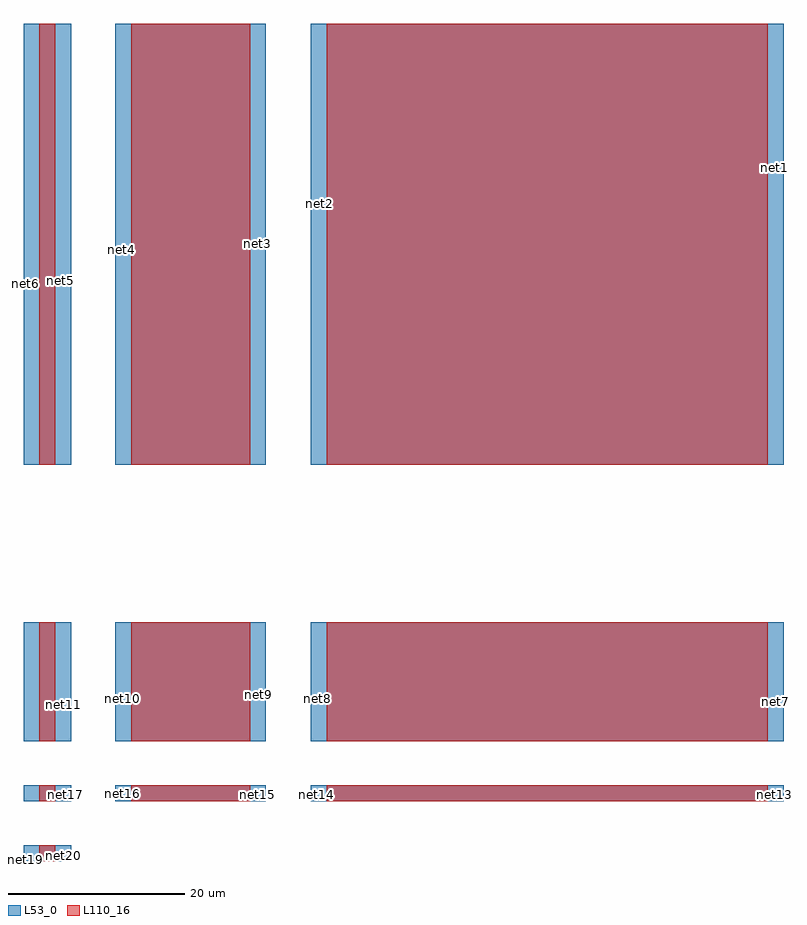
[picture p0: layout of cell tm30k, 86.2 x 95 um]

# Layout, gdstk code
import gdstk
lib = gdstk.Library(unit=1e-6, precision=1e-09)
def R(c, l, rs):  # rectangles x0, y0, x1, y1
    for r in rs: c.add(gdstk.rectangle(r[:2], r[2:], *l))
L53_0 = (53, 0)
L110_16 = (110, 16)

tm30k_cdns_630982388040 = lib.new_cell('tm30k_CDNS_630982388040')
R(tm30k_cdns_630982388040, L53_0, [(0,0,1.8,1.8), (0,0,5.4,1.8), (3.6,0,5.4,1.8)])
R(tm30k_cdns_630982388040, L110_16, [(1.8,0,3.6,1.8)])

tm30k_cdns_630982388041 = lib.new_cell('tm30k_CDNS_630982388041')
R(tm30k_cdns_630982388041, L53_0, [(0,0,1.8,1.8), (0,0,53.6,1.8), (51.8,0,53.6,1.8)])
R(tm30k_cdns_630982388041, L110_16, [(1.8,0,51.8,1.8)])

tm30k_cdns_630982388042 = lib.new_cell('tm30k_CDNS_630982388042')
R(tm30k_cdns_630982388042, L53_0, [(0,0,1.8,1.8), (0,0,17.1,1.8), (15.3,0,17.1,1.8)])
R(tm30k_cdns_630982388042, L110_16, [(1.8,0,15.3,1.8)])

tm30k_cdns_630982388043 = lib.new_cell('tm30k_CDNS_630982388043')
R(tm30k_cdns_630982388043, L53_0, [(0,0,1.8,13.5), (0,0,53.6,13.5), (51.8,0,53.6,13.5)])
R(tm30k_cdns_630982388043, L110_16, [(1.8,0,51.8,13.5)])

tm30k_cdns_630982388044 = lib.new_cell('tm30k_CDNS_630982388044')
R(tm30k_cdns_630982388044, L53_0, [(0,0,1.8,13.5), (0,0,5.4,13.5), (3.6,0,5.4,13.5)])
R(tm30k_cdns_630982388044, L110_16, [(1.8,0,3.6,13.5)])

tm30k_cdns_630982388045 = lib.new_cell('tm30k_CDNS_630982388045')
R(tm30k_cdns_630982388045, L53_0, [(0,0,1.8,13.5), (0,0,17.1,13.5), (15.3,0,17.1,13.5)])
R(tm30k_cdns_630982388045, L110_16, [(1.8,0,15.3,13.5)])

tm30k_cdns_630982388046 = lib.new_cell('tm30k_CDNS_630982388046')
R(tm30k_cdns_630982388046, L53_0, [(0,0,1.8,50), (0,0,5.4,50), (3.6,0,5.4,50)])
R(tm30k_cdns_630982388046, L110_16, [(1.8,0,3.6,50)])

tm30k_cdns_630982388047 = lib.new_cell('tm30k_CDNS_630982388047')
R(tm30k_cdns_630982388047, L53_0, [(0,0,1.8,50), (0,0,53.6,50), (51.8,0,53.6,50)])
R(tm30k_cdns_630982388047, L110_16, [(1.8,0,51.8,50)])

tm30k_cdns_630982388048 = lib.new_cell('tm30k_CDNS_630982388048')
R(tm30k_cdns_630982388048, L53_0, [(0,0,1.8,50), (0,0,17.1,50), (15.3,0,17.1,50)])
R(tm30k_cdns_630982388048, L110_16, [(1.8,0,15.3,50)])

tm30k = lib.new_cell('tm30k')
tm30k.add(gdstk.Reference(tm30k_cdns_630982388040, (0,6.8)))
tm30k.add(gdstk.Reference(tm30k_cdns_630982388040, (0,0)))
tm30k.add(gdstk.Reference(tm30k_cdns_630982388041, (32.6,6.8)))
tm30k.add(gdstk.Reference(tm30k_cdns_630982388042, (10.4,6.8)))
tm30k.add(gdstk.Reference(tm30k_cdns_630982388043, (32.6,13.6)))
tm30k.add(gdstk.Reference(tm30k_cdns_630982388044, (0,13.6)))
tm30k.add(gdstk.Reference(tm30k_cdns_630982388045, (10.4,13.6)))
tm30k.add(gdstk.Reference(tm30k_cdns_630982388046, (0,45)))
tm30k.add(gdstk.Reference(tm30k_cdns_630982388047, (32.6,45)))
tm30k.add(gdstk.Reference(tm30k_cdns_630982388048, (10.4,45)))
tm30k.add(gdstk.Label('net20', (4.562,0.618), layer=53, texttype=10))
tm30k.add(gdstk.Label('net19', (0.219,0.209), layer=53, texttype=10))
tm30k.add(gdstk.Label('net1', (85.234,78.718), layer=53, texttype=10))
tm30k.add(gdstk.Label('net2', (33.524,74.637), layer=53, texttype=10))
tm30k.add(gdstk.Label('net3', (26.493,70.091), layer=53, texttype=10))
tm30k.add(gdstk.Label('net4', (11.151,69.361), layer=53, texttype=10))
tm30k.add(gdstk.Label('net5', (4.162,65.913), layer=53, texttype=10))
tm30k.add(gdstk.Label('net6', (0.193,65.558), layer=53, texttype=10))
tm30k.add(gdstk.Label('net7', (85.303,18.131), layer=53, texttype=10))
tm30k.add(gdstk.Label('net8', (33.372,18.479), layer=53, texttype=10))
tm30k.add(gdstk.Label('net9', (26.66,18.945), layer=53, texttype=10))
tm30k.add(gdstk.Label('net10', (11.186,18.496), layer=53, texttype=10))
tm30k.add(gdstk.Label('net11', (4.511,17.802), layer=53, texttype=10))
tm30k.add(gdstk.Label('net12', (0.43,17.947), layer=53, texttype=10))
tm30k.add(gdstk.Label('net13', (85.163,7.629), layer=53, texttype=10))
tm30k.add(gdstk.Label('net14', (33.217,7.57), layer=53, texttype=10))
tm30k.add(gdstk.Label('net15', (26.526,7.546), layer=53, texttype=10))
tm30k.add(gdstk.Label('net16', (11.232,7.67), layer=53, texttype=10))
tm30k.add(gdstk.Label('net17', (4.752,7.579), layer=53, texttype=10))
tm30k.add(gdstk.Label('net18', (0.887,7.565), layer=53, texttype=10))

lib.write_gds('tm30k.gds')
